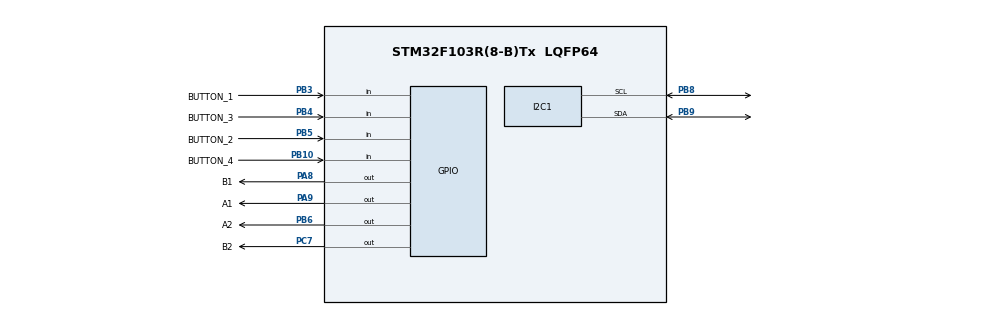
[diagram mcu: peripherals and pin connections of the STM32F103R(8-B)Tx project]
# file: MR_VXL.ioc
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Mcu.Family=STM32F1
Mcu.Name=STM32F103R(8-B)Tx
Mcu.Package=LQFP64
NVIC.PriorityGroup=NVIC_PRIORITYGROUP_4
NVIC.TIM2_IRQn=true\:0\:0\:false\:false\:true\:true\:true
PA13.Mode=Serial_Wire
PA13.Signal=SYS_JTMS-SWDIO
PA14.Mode=Serial_Wire
PA14.Signal=SYS_JTCK-SWCLK
PA8.GPIO_Label=B1
PA8.Signal=GPIO_Output
PA9.GPIO_Label=A1
PA9.Signal=GPIO_Output
PB10.GPIO_Label=BUTTON_4
PB10.GPIO_PuPd=GPIO_PULLUP
PB10.Signal=GPIO_Input
PB3.GPIO_Label=BUTTON_1
PB3.GPIO_PuPd=GPIO_PULLUP
PB3.Signal=GPIO_Input
PB4.GPIO_Label=BUTTON_3
PB4.GPIO_PuPd=GPIO_PULLUP
PB4.Signal=GPIO_Input
PB5.GPIO_Label=BUTTON_2
PB5.GPIO_PuPd=GPIO_PULLUP
PB5.Signal=GPIO_Input
PB6.GPIO_Label=A2
PB6.Signal=GPIO_Output
PB8.Mode=I2C
PB8.Signal=I2C1_SCL
PB9.Mode=I2C
PB9.Signal=I2C1_SDA
PC7.GPIO_Label=B2
PC7.Signal=GPIO_Output
ProjectManager.HeapSize=0x200
ProjectManager.StackSize=0x400
ProjectManager.TargetToolchain=STM32CubeIDE
RCC.APB1Freq_Value=8000000
RCC.APB2Freq_Value=8000000
TIM2.Period=9
TIM2.Prescaler=7999
VP_TIM2_VS_ClockSourceINT.Mode=Internal
board=custom

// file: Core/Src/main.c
/* USER CODE BEGIN Header */
/**
  ******************************************************************************
  * @file           : main.c
  * @brief          : Main program body
  ******************************************************************************
  * @attention
  *
  * <h2><center>&copy; Copyright (c) 2025 STMicroelectronics.
  * All rights reserved.</center></h2>
  *
  * This software component is licensed by ST under BSD 3-Clause license,
  * the "License"; You may not use this file except in compliance with the
  * License. You may obtain a copy of the License at:
  *                        opensource.org/licenses/BSD-3-Clause
  *
  ******************************************************************************
  */
/* USER CODE END Header */
#include "main.h"

/* USER CODE BEGIN Includes */
void input_process(){

	input_processing(0);
	input_processing(1);
	input_processing(2);
	input_processing(3);

}
/* USER CODE END Includes */

I2C_HandleTypeDef hi2c1;

TIM_HandleTypeDef htim2;

void SystemClock_Config(void);
static void MX_GPIO_Init(void);
static void MX_I2C1_Init(void);
static void MX_TIM2_Init(void);

int main(void)
{

  /* MCU Configuration--------------------------------------------------------*/

  /* Reset of all peripherals, Initializes the Flash interface and the Systick. */
  HAL_Init();

  /* Configure the system clock */
  SystemClock_Config();

  /* USER CODE BEGIN SysInit */
	  SCH_Init();
  /* USER CODE END SysInit */

  /* Initialize all configured peripherals */
  MX_GPIO_Init();
  MX_I2C1_Init();
  MX_TIM2_Init();
  /* USER CODE BEGIN 2 */
		HAL_TIM_Base_Start_IT(&htim2);
	    SCH_Add_Task(button_reading, 0, 1);

		SCH_Add_Task(input_process, 0, 1);
		SCH_Add_Task(fsm_control_mode, 0, 2);
		SCH_Add_Task(run_Auto, 0, 25);
		SCH_Add_Task(run_Config, 0, 5);
		SCH_Add_Task(run_Reset, 0, 5);
		SCH_Add_Task(run_Manual, 0, 5);
		SCH_Add_Task(signal_config,0,10);

  /* USER CODE END 2 */

  /* Infinite loop */
  /* USER CODE BEGIN WHILE */
	  while (1)
	  {
		  	//  run_Auto();
		  SCH_Dispatch_Tasks();
    /* USER CODE END WHILE */

	  }
}

void SystemClock_Config(void)
{
  RCC_OscInitTypeDef RCC_OscInitStruct = {0};
  RCC_ClkInitTypeDef RCC_ClkInitStruct = {0};

  /** Initializes the RCC Oscillators according to the specified parameters
  * in the RCC_OscInitTypeDef structure.
  */
  RCC_OscInitStruct.OscillatorType = RCC_OSCILLATORTYPE_HSI;
  RCC_OscInitStruct.HSIState = RCC_HSI_ON;
  RCC_OscInitStruct.HSICalibrationValue = RCC_HSICALIBRATION_DEFAULT;
  RCC_OscInitStruct.PLL.PLLState = RCC_PLL_NONE;
  if (HAL_RCC_OscConfig(&RCC_OscInitStruct) != HAL_OK)
  {
    Error_Handler();
  }
  /** Initializes the CPU, AHB and APB buses clocks
  */
  RCC_ClkInitStruct.ClockType = RCC_CLOCKTYPE_HCLK|RCC_CLOCKTYPE_SYSCLK
                              |RCC_CLOCKTYPE_PCLK1|RCC_CLOCKTYPE_PCLK2;
  RCC_ClkInitStruct.SYSCLKSource = RCC_SYSCLKSOURCE_HSI;
  RCC_ClkInitStruct.AHBCLKDivider = RCC_SYSCLK_DIV1;
  RCC_ClkInitStruct.APB1CLKDivider = RCC_HCLK_DIV1;
  RCC_ClkInitStruct.APB2CLKDivider = RCC_HCLK_DIV1;

  if (HAL_RCC_ClockConfig(&RCC_ClkInitStruct, FLASH_LATENCY_0) != HAL_OK)
  {
    Error_Handler();
  }
}

static void MX_I2C1_Init(void)
{

  hi2c1.Instance = I2C1;
  hi2c1.Init.ClockSpeed = 100000;
  hi2c1.Init.DutyCycle = I2C_DUTYCYCLE_2;
  hi2c1.Init.OwnAddress1 = 0;
  hi2c1.Init.AddressingMode = I2C_ADDRESSINGMODE_7BIT;
  hi2c1.Init.DualAddressMode = I2C_DUALADDRESS_DISABLE;
  hi2c1.Init.OwnAddress2 = 0;
  hi2c1.Init.GeneralCallMode = I2C_GENERALCALL_DISABLE;
  hi2c1.Init.NoStretchMode = I2C_NOSTRETCH_DISABLE;
  if (HAL_I2C_Init(&hi2c1) != HAL_OK)
  {
    Error_Handler();
  }

}

static void MX_TIM2_Init(void)
{

  TIM_ClockConfigTypeDef sClockSourceConfig = {0};
  TIM_MasterConfigTypeDef sMasterConfig = {0};

  htim2.Instance = TIM2;
  htim2.Init.Prescaler = 7999;
  htim2.Init.CounterMode = TIM_COUNTERMODE_UP;
  htim2.Init.Period = 9;
  htim2.Init.ClockDivision = TIM_CLOCKDIVISION_DIV1;
  htim2.Init.AutoReloadPreload = TIM_AUTORELOAD_PRELOAD_DISABLE;
  if (HAL_TIM_Base_Init(&htim2) != HAL_OK)
  {
    Error_Handler();
  }
  sClockSourceConfig.ClockSource = TIM_CLOCKSOURCE_INTERNAL;
  if (HAL_TIM_ConfigClockSource(&htim2, &sClockSourceConfig) != HAL_OK)
  {
    Error_Handler();
  }
  sMasterConfig.MasterOutputTrigger = TIM_TRGO_RESET;
  sMasterConfig.MasterSlaveMode = TIM_MASTERSLAVEMODE_DISABLE;
  if (HAL_TIMEx_MasterConfigSynchronization(&htim2, &sMasterConfig) != HAL_OK)
  {
    Error_Handler();
  }

}

static void MX_GPIO_Init(void)
{
  GPIO_InitTypeDef GPIO_InitStruct = {0};

  /* GPIO Ports Clock Enable */
  __HAL_RCC_GPIOB_CLK_ENABLE();
  __HAL_RCC_GPIOC_CLK_ENABLE();
  __HAL_RCC_GPIOA_CLK_ENABLE();

  /*Configure GPIO pin Output Level */
  HAL_GPIO_WritePin(B2_GPIO_Port, B2_Pin, GPIO_PIN_RESET);

  /*Configure GPIO pin Output Level */
  HAL_GPIO_WritePin(GPIOA, B1_Pin|A1_Pin, GPIO_PIN_RESET);

  /*Configure GPIO pin Output Level */
  HAL_GPIO_WritePin(A2_GPIO_Port, A2_Pin, GPIO_PIN_RESET);

  /*Configure GPIO pins : BUTTON_4_Pin BUTTON_1_Pin BUTTON_3_Pin BUTTON_2_Pin */
  GPIO_InitStruct.Pin = BUTTON_4_Pin|BUTTON_1_Pin|BUTTON_3_Pin|BUTTON_2_Pin;
  GPIO_InitStruct.Mode = GPIO_MODE_INPUT;
  GPIO_InitStruct.Pull = GPIO_PULLUP;
  HAL_GPIO_Init(GPIOB, &GPIO_InitStruct);

  /*Configure GPIO pin : B2_Pin */
  GPIO_InitStruct.Pin = B2_Pin;
  GPIO_InitStruct.Mode = GPIO_MODE_OUTPUT_PP;
  GPIO_InitStruct.Pull = GPIO_NOPULL;
  GPIO_InitStruct.Speed = GPIO_SPEED_FREQ_LOW;
  HAL_GPIO_Init(B2_GPIO_Port, &GPIO_InitStruct);

  /*Configure GPIO pins : B1_Pin A1_Pin */
  GPIO_InitStruct.Pin = B1_Pin|A1_Pin;
  GPIO_InitStruct.Mode = GPIO_MODE_OUTPUT_PP;
  GPIO_InitStruct.Pull = GPIO_NOPULL;
  GPIO_InitStruct.Speed = GPIO_SPEED_FREQ_LOW;
  HAL_GPIO_Init(GPIOA, &GPIO_InitStruct);

  /*Configure GPIO pin : A2_Pin */
  GPIO_InitStruct.Pin = A2_Pin;
  GPIO_InitStruct.Mode = GPIO_MODE_OUTPUT_PP;
  GPIO_InitStruct.Pull = GPIO_NOPULL;
  GPIO_InitStruct.Speed = GPIO_SPEED_FREQ_LOW;
  HAL_GPIO_Init(A2_GPIO_Port, &GPIO_InitStruct);

}

/* USER CODE BEGIN 4 */
void HAL_TIM_PeriodElapsedCallback ( TIM_HandleTypeDef * htim ){

	if(htim -> Instance == TIM2 ){
    SCH_Update();
     }
 }
/* USER CODE END 4 */

void Error_Handler(void)
{
  __disable_irq();
  while (1)
  {
  }
}

/************************ (C) COPYRIGHT STMicroelectronics *****END OF FILE****/
